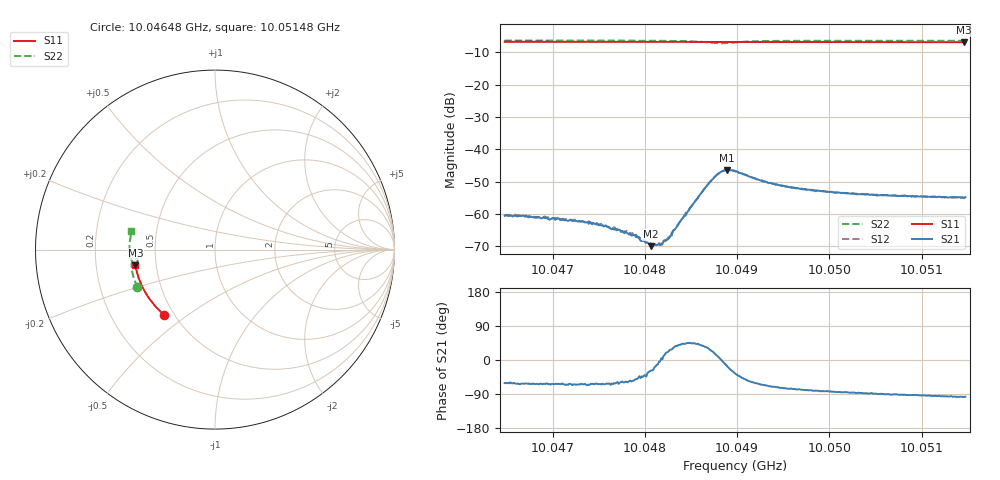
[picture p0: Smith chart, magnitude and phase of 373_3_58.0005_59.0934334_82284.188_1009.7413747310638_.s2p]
#  HZ  S  RI  R  50.00
! Rohde & Schwarz Vector Network Analyzer
! Rohde-Schwarz,ZNB20-2Port,1311601062101988,3.16
! Created: UTC 3/21/2024, 1:07:01 AM
! freq[Hz]  re:S11  im:S11  re:S21  im:S21  re:S12  im:S12  re:S22  im:S22
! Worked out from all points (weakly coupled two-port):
!   401 points, 10.04648 GHz to 10.05148 GHz, reference 50 ohm
!   highest |S21| = -46.39 dB at 10.04889 GHz (marker M1); lowest = -69.9 dB at 10.04807 GHz (marker M2)
!   lowest |S11| = -6.9 dB at 10.05146 GHz (marker M3), VSWR 2.65, Z = 19 - j4.14 ohm
!   |S11| at or under -10 dB: nowhere
!   |S22| runs from -7.2 to -6.4 dB; largest |S21 - S12| = 0.00034
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1.0046479e10  -0.2826 -0.364  0.000458 -0.000822  0.000537 -0.000802  -0.4325 -0.2105
1.0046891e10  -0.303 -0.3459  0.00038 -0.000783  0.000472 -0.000758  -0.4431 -0.1849
1.0047316e10  -0.3229 -0.3262  0.000344 -0.000697  0.000382 -0.000664  -0.4528 -0.1573
1.0047541e10  -0.3329 -0.3152  0.000314 -0.0006  0.000335 -0.000604  -0.457 -0.1423
1.0047815e10  -0.3448 -0.3014  0.000259 -0.00043  0.000322 -0.000407  -0.4614 -0.1232
1.0047903e10  -0.3484 -0.2969  0.000305 -0.000372  0.000294 -0.000329  -0.4627 -0.1169
1.0047965e10  -0.3509 -0.2937  0.000279 -0.000261  0.000297 -0.000249  -0.4635 -0.1123
1.0048065e10  -0.355 -0.2884  0.000283 -0.000147  0.000318 -0.000153  -0.4644 -0.1047
1.0048153e10  -0.3584 -0.2839  0.000338 -2.85e-05  0.000355 4.41e-06  -0.4649 -0.0979
1.004819e10  -0.3599 -0.2821  0.000339 1.22e-05  0.000367 6.12e-05  -0.4652 -0.095
1.0048265e10  -0.3629 -0.2781  0.000383 0.000184  0.000384 0.000232  -0.4652 -0.0886
1.0048403e10  -0.368 -0.2704  0.000624 0.000561  0.000581 0.000601  -0.4643 -0.0766
1.0048727e10  -0.3796 -0.2526  0.00311 0.00134  0.00303 0.00153  -0.4417 -0.0515
1.0048815e10  -0.3824 -0.2476  0.00437 0.000263  0.00438 0.00054  -0.4318 -0.0579
1.004889e10  -0.3849 -0.2437  0.00462 -0.00128  0.0047 -0.00101  -0.4322 -0.0686
1.0048977e10  -0.3878 -0.2389  0.00375 -0.00265  0.00394 -0.00243  -0.4425 -0.0748
1.0049314e10  -0.3987 -0.2196  0.00121 -0.00288  0.00135 -0.00283  -0.4692 -0.0515
1.0049527e10  -0.4051 -0.2071  0.000674 -0.00256  0.000846 -0.00255  -0.4737 -0.0339
1.0049814e10  -0.4129 -0.1899  0.000378 -0.0023  0.00053 -0.00231  -0.476 -0.012
1.0050651e10  -0.4315 -0.1383  -2.67e-05 -0.00193  8.88e-05 -0.00194  -0.4744 0.0464
1.0051463e10  -0.4435 -0.0865  -0.000232 -0.00175  -0.000125 -0.0018  -0.4656 0.1002
1.0051475e10  -0.4438 -0.0859  -0.000216 -0.0018  -0.000157 -0.0018  -0.4655 0.101
